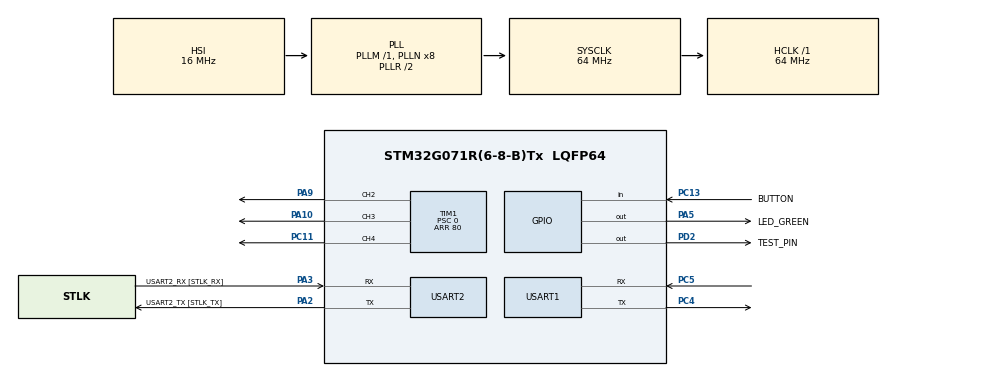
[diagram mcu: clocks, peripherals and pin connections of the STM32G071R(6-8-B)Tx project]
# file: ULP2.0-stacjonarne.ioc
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Dma.Request0=TIM1_CH4
Dma.Request1=TIM1_CH3
Dma.Request2=TIM1_CH2
Dma.Request3=USART2_RX
Dma.TIM1_CH2.2.Direction=DMA_MEMORY_TO_PERIPH
Dma.TIM1_CH2.2.EventEnable=DISABLE
Dma.TIM1_CH2.2.Instance=DMA1_Channel3
Dma.TIM1_CH2.2.MemDataAlignment=DMA_MDATAALIGN_BYTE
Dma.TIM1_CH2.2.MemInc=DMA_MINC_ENABLE
Dma.TIM1_CH2.2.Mode=DMA_NORMAL
Dma.TIM1_CH2.2.PeriphDataAlignment=DMA_PDATAALIGN_HALFWORD
Dma.TIM1_CH2.2.PeriphInc=DMA_PINC_DISABLE
Dma.TIM1_CH2.2.Polarity=HAL_DMAMUX_REQ_GEN_RISING
Dma.TIM1_CH2.2.Priority=DMA_PRIORITY_LOW
Dma.TIM1_CH2.2.RequestNumber=1
Dma.TIM1_CH2.2.SignalID=NONE
Dma.TIM1_CH2.2.SyncEnable=DISABLE
Dma.TIM1_CH2.2.SyncPolarity=HAL_DMAMUX_SYNC_NO_EVENT
Dma.TIM1_CH2.2.SyncRequestNumber=1
Dma.TIM1_CH2.2.SyncSignalID=NONE
Dma.TIM1_CH3.1.Direction=DMA_MEMORY_TO_PERIPH
Dma.TIM1_CH3.1.EventEnable=DISABLE
Dma.TIM1_CH3.1.Instance=DMA1_Channel2
Dma.TIM1_CH3.1.MemDataAlignment=DMA_MDATAALIGN_BYTE
Dma.TIM1_CH3.1.MemInc=DMA_MINC_ENABLE
Dma.TIM1_CH3.1.Mode=DMA_NORMAL
Dma.TIM1_CH3.1.PeriphDataAlignment=DMA_PDATAALIGN_HALFWORD
Dma.TIM1_CH3.1.PeriphInc=DMA_PINC_DISABLE
Dma.TIM1_CH3.1.Polarity=HAL_DMAMUX_REQ_GEN_RISING
Dma.TIM1_CH3.1.Priority=DMA_PRIORITY_LOW
Dma.TIM1_CH3.1.RequestNumber=1
Dma.TIM1_CH3.1.SignalID=NONE
Dma.TIM1_CH3.1.SyncEnable=DISABLE
Dma.TIM1_CH3.1.SyncPolarity=HAL_DMAMUX_SYNC_NO_EVENT
Dma.TIM1_CH3.1.SyncRequestNumber=1
Dma.TIM1_CH3.1.SyncSignalID=NONE
Dma.TIM1_CH4.0.Direction=DMA_MEMORY_TO_PERIPH
Dma.TIM1_CH4.0.EventEnable=DISABLE
Dma.TIM1_CH4.0.Instance=DMA1_Channel1
Dma.TIM1_CH4.0.MemDataAlignment=DMA_MDATAALIGN_BYTE
Dma.TIM1_CH4.0.MemInc=DMA_MINC_ENABLE
Dma.TIM1_CH4.0.Mode=DMA_NORMAL
Dma.TIM1_CH4.0.PeriphDataAlignment=DMA_PDATAALIGN_HALFWORD
Dma.TIM1_CH4.0.PeriphInc=DMA_PINC_DISABLE
Dma.TIM1_CH4.0.Polarity=HAL_DMAMUX_REQ_GEN_RISING
Dma.TIM1_CH4.0.Priority=DMA_PRIORITY_LOW
Dma.TIM1_CH4.0.RequestNumber=1
Dma.TIM1_CH4.0.SignalID=NONE
Dma.TIM1_CH4.0.SyncEnable=DISABLE
Dma.TIM1_CH4.0.SyncPolarity=HAL_DMAMUX_SYNC_NO_EVENT
Dma.TIM1_CH4.0.SyncRequestNumber=1
Dma.TIM1_CH4.0.SyncSignalID=NONE
Dma.USART2_RX.3.Direction=DMA_PERIPH_TO_MEMORY
Dma.USART2_RX.3.EventEnable=DISABLE
Dma.USART2_RX.3.Instance=DMA1_Channel4
Dma.USART2_RX.3.MemDataAlignment=DMA_MDATAALIGN_BYTE
Dma.USART2_RX.3.MemInc=DMA_MINC_ENABLE
Dma.USART2_RX.3.Mode=DMA_CIRCULAR
Dma.USART2_RX.3.PeriphDataAlignment=DMA_PDATAALIGN_BYTE
Dma.USART2_RX.3.PeriphInc=DMA_PINC_DISABLE
Dma.USART2_RX.3.Polarity=HAL_DMAMUX_REQ_GEN_RISING
Dma.USART2_RX.3.Priority=DMA_PRIORITY_LOW
Dma.USART2_RX.3.RequestNumber=1
Dma.USART2_RX.3.SignalID=NONE
Dma.USART2_RX.3.SyncEnable=DISABLE
Dma.USART2_RX.3.SyncPolarity=HAL_DMAMUX_SYNC_NO_EVENT
Dma.USART2_RX.3.SyncRequestNumber=1
Dma.USART2_RX.3.SyncSignalID=NONE
Mcu.Family=STM32G0
Mcu.Name=STM32G071R(6-8-B)Tx
Mcu.Package=LQFP64
NVIC.DMA1_Ch4_7_DMAMUX1_OVR_IRQn=true\:0\:0\:false\:false\:true\:false\:true\:true
NVIC.DMA1_Channel1_IRQn=true\:0\:0\:false\:false\:true\:false\:true\:true
NVIC.DMA1_Channel2_3_IRQn=true\:0\:0\:false\:false\:true\:false\:true\:true
NVIC.USART1_IRQn=true\:0\:0\:false\:false\:true\:true\:true\:true
PA10.GPIO_PuPd=GPIO_PULLDOWN
PA10.Signal=S_TIM1_CH3
PA13.GPIO_Label=TMS
PA13.Mode=Serial_Wire
PA13.Signal=SYS_SWDIO
PA14-BOOT0.GPIO_Label=TCK
PA14-BOOT0.Mode=Serial_Wire
PA14-BOOT0.Signal=SYS_SWCLK
PA2.GPIO_Label=USART2_TX [STLK_TX]
PA2.GPIO_PuPd=GPIO_PULLUP
PA2.Mode=Asynchronous
PA2.Signal=USART2_TX
PA3.GPIO_Label=USART2_RX [STLK_RX]
PA3.GPIO_PuPd=GPIO_PULLUP
PA3.Mode=Asynchronous
PA3.Signal=USART2_RX
PA5.GPIO_Label=LED_GREEN
PA5.GPIO_Speed=GPIO_SPEED_FREQ_HIGH
PA5.Signal=GPIO_Output
PA9.GPIO_PuPd=GPIO_PULLDOWN
PA9.Signal=S_TIM1_CH2
PC11.GPIO_PuPd=GPIO_PULLDOWN
PC11.PinState=GPIO_PIN_RESET
PC11.Signal=S_TIM1_CH4
PC13.GPIO_Label=BUTTON
PC13.Signal=GPIO_Input
PC14-OSC32_IN\ (PC14).Mode=LSE-External-Oscillator
PC14-OSC32_IN\ (PC14).Signal=RCC_OSC32_IN
PC15-OSC32_OUT\ (PC15).Mode=LSE-External-Oscillator
PC15-OSC32_OUT\ (PC15).Signal=RCC_OSC32_OUT
PC4.Mode=Asynchronous
PC4.Signal=USART1_TX
PC5.Mode=Asynchronous
PC5.Signal=USART1_RX
PD2.GPIO_Label=TEST_PIN
PD2.Signal=GPIO_Output
PF0-OSC_IN\ (PF0).GPIO_Label=MCO
PF0-OSC_IN\ (PF0).Mode=HSE-External-Clock-Source
PF0-OSC_IN\ (PF0).Signal=RCC_OSC_IN
ProjectManager.HeapSize=0x200
ProjectManager.StackSize=0x400
ProjectManager.TargetToolchain=STM32CubeIDE
RCC.ADCFreq_Value=64000000
RCC.AHBFreq_Value=64000000
RCC.CortexFreq_Value=64000000
RCC.EXTERNAL_CLOCK_VALUE=12288000
RCC.HCLKFreq_Value=64000000
RCC.HSE_VALUE=8000000
RCC.HSI_VALUE=16000000
RCC.SYSCLKFreq_VALUE=64000000
RCC.SYSCLKSource=RCC_SYSCLKSOURCE_PLLCLK
RCC.VCOOutputFreq_Value=128000000
SH.S_TIM1_CH2.0=TIM1_CH2,PWM Generation2 CH2
SH.S_TIM1_CH3.0=TIM1_CH3,PWM Generation3 CH3
SH.S_TIM1_CH4.0=TIM1_CH4,PWM Generation4 CH4
TIM1.AutoReloadPreload=TIM_AUTORELOAD_PRELOAD_DISABLE
TIM1.Channel-PWM\ Generation2\ CH2=TIM_CHANNEL_2
TIM1.Channel-PWM\ Generation3\ CH3=TIM_CHANNEL_3
TIM1.Channel-PWM\ Generation4\ CH4=TIM_CHANNEL_4
TIM1.OC4Preload_PWM=ENABLE
TIM1.OCIdleState_4=TIM_OCIDLESTATE_RESET
TIM1.OCMode_PWM-PWM\ Generation4\ CH4=TIM_OCMODE_PWM1
TIM1.OCPolarity_4=TIM_OCPOLARITY_HIGH
TIM1.Period=80
TIM1.Prescaler=0
TIM2.AutoReloadPreload=TIM_AUTORELOAD_PRELOAD_ENABLE
TIM2.Prescaler=64000-1
USART1.VirtualMode-Asynchronous=VM_ASYNC
USART2.VirtualMode-Asynchronous=VM_ASYNC
VP_TIM1_VS_ClockSourceINT.Mode=Internal
VP_TIM2_VS_ClockSourceINT.Mode=Internal
board=NUCLEO-G071RB

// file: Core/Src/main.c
/* USER CODE BEGIN Header */
/**
  ******************************************************************************
  * @file           : main.c
  * @brief          : Main program body
  ******************************************************************************
  * @attention
  *
  * Copyright (c) 2023 STMicroelectronics.
  * All rights reserved.
  *
  * This software is licensed under terms that can be found in the LICENSE file
  * in the root directory of this software component.
  * If no LICENSE file comes with this software, it is provided AS-IS.
  *
  ******************************************************************************
  */
/* USER CODE END Header */
#include "main.h"
#include "dma.h"
#include "tim.h"
#include "usart.h"
#include "gpio.h"

/* USER CODE BEGIN Includes */

#include "ULP_ws2812b.h"
#include "ULP_Effects.h"
#include "ULP_utilities.h"

/* USER CODE END Includes */

void SystemClock_Config(void);

/* USER CODE BEGIN 0 */

struct Color {
	uint8_t r;
	uint8_t g;
	uint8_t b;
};

uint8_t dma_flag[3] = {1, 1, 1};
uint8_t application_buffer[7];
uint8_t pc_buffer[8];

// led variables
struct Color main_color[3] = {{0,0,0}, {0,0,0}, {0,0,0}};
struct Color vu_color_a[3] = {{0,0,0}, {0,0,0}, {0,0,0}};
struct Color vu_color_b[3] = {{0,0,0}, {0,0,0}, {0,0,0}};
struct Color eq_color_a[3] = {{0,0,0}, {0,0,0}, {0,0,0}};
struct Color eq_color_b[3] = {{0,0,0}, {0,0,0}, {0,0,0}};

uint8_t brightness[3] = {0, 0, 0};
uint8_t channel_effect[3] = {0, 0, 0}; // 0 - color, 1 - vu meter, 2 - eq

uint8_t channel_flag[3] = {0, 0, 0}; // if flag is 1 - channel should be refresh asap

uint8_t vu_data = 0;
uint8_t vu_flag[3] = {0, 0, 0}; // if 1 - refresh led asap

uint8_t eq_data[7] = {0, 0, 0, 0, 0, 0, 0};
uint8_t eq_cut[3] = {0,0,0};
uint16_t eq_sensetive[3] = {100,100,100};

void HAL_TIM_PWM_PulseFinishedCallback(TIM_HandleTypeDef *htim)
{

	if (htim->Channel == HAL_TIM_ACTIVE_CHANNEL_2) // A
	{
		HAL_TIM_PWM_Stop_DMA(htim, TIM_CHANNEL_2);
		dma_flag[0] = 1;
	}
	else if (htim->Channel == HAL_TIM_ACTIVE_CHANNEL_3) // B
	{
		HAL_TIM_PWM_Stop_DMA(htim, TIM_CHANNEL_3);
		dma_flag[1] = 1;
	}
	else if (htim->Channel == HAL_TIM_ACTIVE_CHANNEL_4) // C
	{
		HAL_TIM_PWM_Stop_DMA(htim, TIM_CHANNEL_4);
		dma_flag[2] = 1;
	}

}

void HAL_UART_RxCpltCallback(UART_HandleTypeDef *huart)
{
	// application
	if (huart == &huart1)
	{
		if (application_buffer[0] == 'd' && application_buffer[1] == 'c' && application_buffer[2] == '_')
		{
			main_color[application_buffer[3]].r = application_buffer[4];
			main_color[application_buffer[3]].g = application_buffer[5];
			main_color[application_buffer[3]].b = application_buffer[6];
			channel_flag[application_buffer[3]] = 1;
		}
		else if (application_buffer[0] == 'd' && application_buffer[1] == 'b' && application_buffer[2] == '_')
		{
			brightness[application_buffer[3]] = application_buffer[4];
			channel_flag[application_buffer[3]] = 1;
		}
		else if (application_buffer[0] == 'v' && application_buffer[1] == 'u' && application_buffer[2] == 'a')
		{
			vu_color_a[application_buffer[3]].r = application_buffer[4];
			vu_color_a[application_buffer[3]].g = application_buffer[5];
			vu_color_a[application_buffer[3]].b = application_buffer[6];
			vu_flag[application_buffer[3]] = 1;
		}
		else if (application_buffer[0] == 'v' && application_buffer[1] == 'u' && application_buffer[2] == 'b')
		{
			vu_color_b[application_buffer[3]].r = application_buffer[4];
			vu_color_b[application_buffer[3]].g = application_buffer[5];
			vu_color_b[application_buffer[3]].b = application_buffer[6];
			vu_flag[application_buffer[3]] = 1;
		}
		else if (application_buffer[0] == 'd' && application_buffer[1] == 's' && application_buffer[2] == '_')
		{
			channel_effect[application_buffer[3]] = application_buffer[4];
		}
		else if (application_buffer[0] == 'e' && application_buffer[1] == 'q' && application_buffer[2] == 'c')
		{
			eq_cut[application_buffer[3]] = application_buffer[4];
		}
		else if (application_buffer[0] == 'e' && application_buffer[1] == 'q' && application_buffer[2] == 'g')
		{
			eq_sensetive[application_buffer[3]] = application_buffer[4];
		}
		else if (application_buffer[0] == 'd' && application_buffer[1] == 'q' && application_buffer[2] == 'a')
		{
			eq_color_a[application_buffer[3]].r = application_buffer[4];
			eq_color_a[application_buffer[3]].g = application_buffer[5];
			eq_color_a[application_buffer[3]].b = application_buffer[6];
		}
		else if (application_buffer[0] == 'd' && application_buffer[1] == 'q' && application_buffer[2] == 'b')
		{
			eq_color_b[application_buffer[3]].r = application_buffer[4];
			eq_color_b[application_buffer[3]].g = application_buffer[5];
			eq_color_b[application_buffer[3]].b = application_buffer[6];
		}

		HAL_UART_Receive_IT(&huart1, application_buffer, 7);
	}
	// computer
	if (huart == &huart2)
	{
		HAL_UART_Receive_DMA(&huart2, pc_buffer, 8);
	}

}

// A
uint8_t color_array_A[150][3];
uint8_t pixel_bit_buffer_A[(150 * 24) + 45];

// B
uint8_t color_array_B[150][3];
uint8_t pixel_bit_buffer_B[(150 * 24) + 45];

// C
uint8_t color_array_C[150][3];
uint8_t pixel_bit_buffer_C[(150 * 24) + 45];

/* USER CODE END 0 */

int main(void)
{

  /* MCU Configuration--------------------------------------------------------*/

  /* Reset of all peripherals, Initializes the Flash interface and the Systick. */
  HAL_Init();

  /* Configure the system clock */
  SystemClock_Config();

  /* Initialize all configured peripherals */
  MX_GPIO_Init();
  MX_DMA_Init();
  MX_USART2_UART_Init();
  MX_TIM1_Init();
  MX_USART1_UART_Init();
  MX_TIM2_Init();
  /* USER CODE BEGIN 2 */
  HAL_TIM_Base_Start(&htim2);
  HAL_UART_Receive_IT(&huart1, application_buffer, 7);
  HAL_UART_Receive_DMA(&huart2, pc_buffer, 8);

  /* USER CODE END 2 */

  /* Infinite loop */
  /* USER CODE BEGIN WHILE */

  clear_led_strip(color_array_A, 150);
  clear_led_strip(color_array_B, 150);
  clear_led_strip(color_array_C, 150);

  // startup effect (all channels)
  struct startup_veriables startup_ver;

  startup_effect_init(&startup_ver);

  while (startup_effect(color_array_C, &startup_ver, TIM2->CNT, 150) == 0)
  {
	  while(dma_flag[2] == 0 || dma_flag[1] == 0 || dma_flag[0] == 0);

	  color_array_to_pixels(color_array_C, pixel_bit_buffer_C, 150, 100);

	  // all channel (connected together channel)
	  HAL_TIM_PWM_Start_DMA(&htim1, TIM_CHANNEL_2, (uint32_t*)pixel_bit_buffer_C, buffer_size(150));
	  HAL_TIM_PWM_Start_DMA(&htim1, TIM_CHANNEL_3, (uint32_t*)pixel_bit_buffer_C, buffer_size(150));
	  HAL_TIM_PWM_Start_DMA(&htim1, TIM_CHANNEL_4, (uint32_t*)pixel_bit_buffer_C, buffer_size(150));

	  dma_flag[0] = 0; dma_flag[1] = 0; dma_flag[2] = 0;
  }

  while (1)
  {
	  for (uint8_t i=0; i < 7; i++)
	  {
		 eq_data[i] = pc_buffer[i+1];
	  }

	  // channel A:
	  if (dma_flag[0] == 1)
	  {
		  // color
		  if (channel_effect[0] == 0)
		  {
			  set_color_strip(color_array_A, main_color[0].r, main_color[0].g, main_color[0].b, 150);
		  }
		  else if (channel_effect[0] == 1)
		  {
			  vu_effect(color_array_A, pc_buffer[0], vu_color_a[0].r, vu_color_a[0].g, vu_color_a[0].b, vu_color_b[0].r, vu_color_b[0].g, vu_color_b[0].b, 150);
		  }
		  else if (channel_effect[0] == 2)
		  {
			  eq_effect(color_array_A, eq_color_a[0].r, eq_color_a[0].g, eq_color_a[0].b, eq_color_b[0].r, eq_color_b[0].g, eq_color_b[0].b, eq_data, eq_cut[0], eq_sensetive[0], 150);
		  }

		 color_array_to_pixels(color_array_A, pixel_bit_buffer_A, 150, brightness[0]);
		 HAL_TIM_PWM_Start_DMA(&htim1, TIM_CHANNEL_2, (uint32_t*)pixel_bit_buffer_A, buffer_size(150));
		 dma_flag[0] = 0;

	  }

	  // channel B:
	  if (dma_flag[1] == 1)
	  {
		 // color
		 if (channel_effect[1] == 0)
		 {
			 set_color_strip(color_array_B, main_color[1].r, main_color[1].g, main_color[1].b, 150);
		 }
		 else if (channel_effect[1] == 1)
		 {
			 vu_effect(color_array_B, pc_buffer[0], vu_color_a[1].r, vu_color_a[1].g, vu_color_a[1].b, vu_color_b[1].r, vu_color_b[1].g, vu_color_b[1].b, 150);
		 }
		 else if (channel_effect[1] == 2)
		 {
		 	eq_effect(color_array_B, eq_color_a[1].r, eq_color_a[1].g, eq_color_a[1].b, eq_color_b[1].r, eq_color_b[1].g, eq_color_b[1].b, eq_data, eq_cut[1], eq_sensetive[1], 150);
		 }

		 color_array_to_pixels(color_array_B, pixel_bit_buffer_B, 150, brightness[1]);
		 HAL_TIM_PWM_Start_DMA(&htim1, TIM_CHANNEL_3, (uint32_t*)pixel_bit_buffer_B, buffer_size(150));
		 dma_flag[1] = 0;
	  }

	  // channel C:
	  if (dma_flag[2] == 1)
	  {
		  // color
		 if (channel_effect[2] == 0 && channel_flag[2] == 1)
		 {
		 	set_color_strip(color_array_C, main_color[2].r, main_color[2].g, main_color[2].b, 150);
		 }
		 else if (channel_effect[2] == 1)
		 {
			 vu_effect(color_array_C, pc_buffer[0], vu_color_a[2].r, vu_color_a[2].g, vu_color_a[2].b, vu_color_b[2].r, vu_color_b[2].g, vu_color_b[2].b, 150);
		 }
		 else if (channel_effect[2] == 2)
		 {
			eq_effect(color_array_C, eq_color_a[2].r, eq_color_a[2].g, eq_color_a[2].b, eq_color_b[2].r, eq_color_b[2].g, eq_color_b[2].b, eq_data, eq_cut[2], eq_sensetive[2], 150);
		 }

		 color_array_to_pixels(color_array_C, pixel_bit_buffer_C, 150, brightness[2]);
		 HAL_TIM_PWM_Start_DMA(&htim1, TIM_CHANNEL_4, (uint32_t*)pixel_bit_buffer_C, buffer_size(150));
		 dma_flag[2] = 0;
	  }

    /* USER CODE END WHILE */

  }
}

void SystemClock_Config(void)
{
  RCC_OscInitTypeDef RCC_OscInitStruct = {0};
  RCC_ClkInitTypeDef RCC_ClkInitStruct = {0};

  /** Configure the main internal regulator output voltage
  */
  HAL_PWREx_ControlVoltageScaling(PWR_REGULATOR_VOLTAGE_SCALE1);

  /** Initializes the RCC Oscillators according to the specified parameters
  * in the RCC_OscInitTypeDef structure.
  */
  RCC_OscInitStruct.OscillatorType = RCC_OSCILLATORTYPE_HSI;
  RCC_OscInitStruct.HSIState = RCC_HSI_ON;
  RCC_OscInitStruct.HSIDiv = RCC_HSI_DIV1;
  RCC_OscInitStruct.HSICalibrationValue = RCC_HSICALIBRATION_DEFAULT;
  RCC_OscInitStruct.PLL.PLLState = RCC_PLL_ON;
  RCC_OscInitStruct.PLL.PLLSource = RCC_PLLSOURCE_HSI;
  RCC_OscInitStruct.PLL.PLLM = RCC_PLLM_DIV1;
  RCC_OscInitStruct.PLL.PLLN = 8;
  RCC_OscInitStruct.PLL.PLLP = RCC_PLLP_DIV2;
  RCC_OscInitStruct.PLL.PLLQ = RCC_PLLQ_DIV2;
  RCC_OscInitStruct.PLL.PLLR = RCC_PLLR_DIV2;
  if (HAL_RCC_OscConfig(&RCC_OscInitStruct) != HAL_OK)
  {
    Error_Handler();
  }

  /** Initializes the CPU, AHB and APB buses clocks
  */
  RCC_ClkInitStruct.ClockType = RCC_CLOCKTYPE_HCLK|RCC_CLOCKTYPE_SYSCLK
                              |RCC_CLOCKTYPE_PCLK1;
  RCC_ClkInitStruct.SYSCLKSource = RCC_SYSCLKSOURCE_PLLCLK;
  RCC_ClkInitStruct.AHBCLKDivider = RCC_SYSCLK_DIV1;
  RCC_ClkInitStruct.APB1CLKDivider = RCC_HCLK_DIV1;

  if (HAL_RCC_ClockConfig(&RCC_ClkInitStruct, FLASH_LATENCY_2) != HAL_OK)
  {
    Error_Handler();
  }
}

void Error_Handler(void)
{
  __disable_irq();
  while (1)
  {
  }
}
